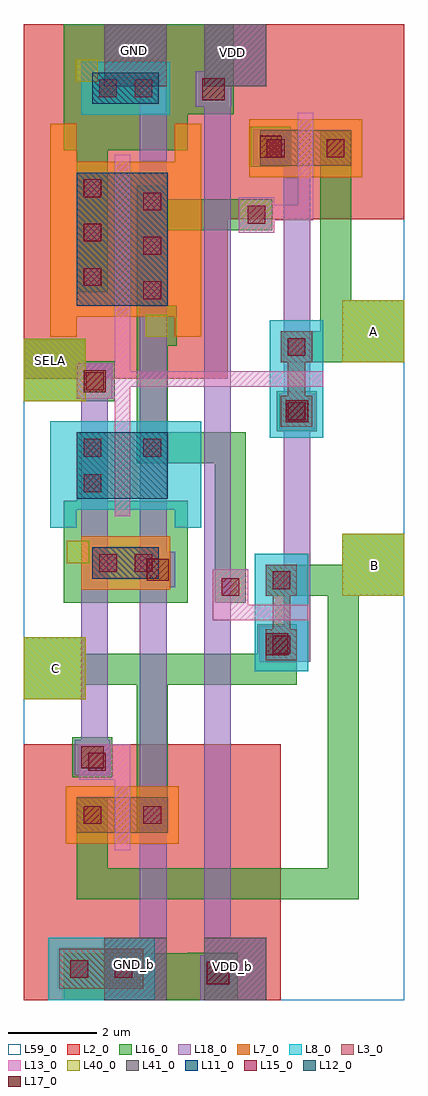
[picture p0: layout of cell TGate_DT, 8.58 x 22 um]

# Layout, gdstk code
from math import pi, radians
import gdstk
lib = gdstk.Library(unit=1e-6, precision=1e-09)
def R(c, l, rs):  # rectangles x0, y0, x1, y1
    for r in rs: c.add(gdstk.rectangle(r[:2], r[2:], *l))
def A(c, l, x, y, w, h, nx, ny, dx, dy):  # array of equal rectangles
    R(c, l, [(x+i*dx, y+j*dy, x+i*dx+w, y+j*dy+h) for i in range(nx) for j in range(ny)])
def P(c, l, *ps):  # polygons
    for p in ps: c.add(gdstk.Polygon(p, *l))
L2_0 = (2, 0)
L3_0 = (3, 0)
L7_0 = (7, 0)
L8_0 = (8, 0)
L11_0 = (11, 0)
L12_0 = (12, 0)
L13_0 = (13, 0)
L15_0 = (15, 0)
L16_0 = (16, 0)
L17_0 = (17, 0)
L18_0 = (18, 0)
L40_0 = (40, 0)
L41_0 = (41, 0)
L59_0 = (59, 0)

pch_cdns_747428254380 = lib.new_cell('pch_CDNS_747428254380')
R(pch_cdns_747428254380, L2_0, [(-2.05,-1.2,2.4,2)])
R(pch_cdns_747428254380, L3_0, [(-0.85,0,-0.15,0.8), (-0.85,0,-0.15,0.8), (-0.15,0,0.5,0.8), (0.5,0,1.2,0.8), (0.5,0,1.2,0.8)])
R(pch_cdns_747428254380, L7_0, [(-1.1,-0.25,1.45,1.05)])
R(pch_cdns_747428254380, L13_0, [(0,-0.4,0.35,1.2)])
R(pch_cdns_747428254380, L15_0, [(-0.7,0.2,-0.3,0.6), (0.65,0.2,1.05,0.6)])
R(pch_cdns_747428254380, L16_0, [(-0.85,0,-0.15,0.8), (0.5,0,1.2,0.8)])
pch_cdns_747428254380.add(gdstk.Label('D', (0.85,0.4), layer=59, texttype=0))
pch_cdns_747428254380.add(gdstk.Label('S', (-0.5,0.4), layer=59, texttype=0))
pch_cdns_747428254380.add(gdstk.Label('G', (0.175,0.4), layer=59, texttype=0))
pch_cdns_747428254380.add(gdstk.Label('& SerialNumber 000000', (0,0), layer=16, texttype=0))
pch_cdns_747428254380.add(gdstk.Label('& Distributor VIS', (0,0), layer=16, texttype=0))
pch_cdns_747428254380.add(gdstk.Label('& Metric 1', (0,0), layer=16, texttype=0))
pch_cdns_747428254380.add(gdstk.Label('& Version    \t  1.7A', (0,0), layer=16, texttype=0))
pch_cdns_747428254380.add(gdstk.Label('& PDKName     vis35cv', (0,0), layer=16, texttype=0))
pch_cdns_747428254380.add(gdstk.Label('& Vendor VIS Corp.', (0,0), layer=16, texttype=0))
pch_cdns_747428254380.add(gdstk.Label('& SerialNumber 000000', (0,0), layer=63, texttype=63))
pch_cdns_747428254380.add(gdstk.Label('& Distributor VIS', (0,0), layer=63, texttype=63))
pch_cdns_747428254380.add(gdstk.Label('& Metric 1', (0,0), layer=63, texttype=63))
pch_cdns_747428254380.add(gdstk.Label('& Version    \t  1.7A', (0,0), layer=63, texttype=63))
pch_cdns_747428254380.add(gdstk.Label('& PDKName     vis35cv', (0,0), layer=63, texttype=63))
pch_cdns_747428254380.add(gdstk.Label('& Vendor VIS Corp.', (0,0), layer=63, texttype=63))

nch_cdns_747428254381 = lib.new_cell('nch_CDNS_747428254381')
R(nch_cdns_747428254381, L3_0, [(-0.9,-0.15,-0.2,0.55), (0.55,-0.15,1.25,0.55), (-0.9,0,-0.2,0.4), (-0.2,0,0.55,0.4), (0.55,0,1.25,0.4)])
R(nch_cdns_747428254381, L8_0, [(-1.15,-0.4,1.5,0.8)])
R(nch_cdns_747428254381, L13_0, [(0,-0.4,0.35,0.8)])
R(nch_cdns_747428254381, L15_0, [(-0.75,0,-0.35,0.4), (0.7,0,1.1,0.4)])
R(nch_cdns_747428254381, L16_0, [(-0.9,-0.15,-0.2,0.55), (0.55,-0.15,1.25,0.55)])
nch_cdns_747428254381.add(gdstk.Label('D', (0.9,0.2), layer=59, texttype=0))
nch_cdns_747428254381.add(gdstk.Label('S', (-0.55,0.2), layer=59, texttype=0))
nch_cdns_747428254381.add(gdstk.Label('G', (0.175,0.2), layer=59, texttype=0))
nch_cdns_747428254381.add(gdstk.Label('& SerialNumber 000000', (0,0), layer=16, texttype=0))
nch_cdns_747428254381.add(gdstk.Label('& Distributor VIS', (0,0), layer=16, texttype=0))
nch_cdns_747428254381.add(gdstk.Label('& Metric 1', (0,0), layer=16, texttype=0))
nch_cdns_747428254381.add(gdstk.Label('& Version    \t  1.7A', (0,0), layer=16, texttype=0))
nch_cdns_747428254381.add(gdstk.Label('& PDKName     vis35cv', (0,0), layer=16, texttype=0))
nch_cdns_747428254381.add(gdstk.Label('& Vendor VIS Corp.', (0,0), layer=16, texttype=0))
nch_cdns_747428254381.add(gdstk.Label('& SerialNumber 000000', (0,0), layer=63, texttype=63))
nch_cdns_747428254381.add(gdstk.Label('& Distributor VIS', (0,0), layer=63, texttype=63))
nch_cdns_747428254381.add(gdstk.Label('& Metric 1', (0,0), layer=63, texttype=63))
nch_cdns_747428254381.add(gdstk.Label('& Version    \t  1.7A', (0,0), layer=63, texttype=63))
nch_cdns_747428254381.add(gdstk.Label('& PDKName     vis35cv', (0,0), layer=63, texttype=63))
nch_cdns_747428254381.add(gdstk.Label('& Vendor VIS Corp.', (0,0), layer=63, texttype=63))

inv0 = lib.new_cell('INV0')
R(inv0, L2_0, [(-1.6,5.05,3,13.05)])
R(inv0, L7_0, [(-0.3,0.3,1.7,1.5)])
P(inv0, L7_0, [(-1,6),(-1,10.8),(-0.4,10.8),(-0.4,9.95),(1.8,9.95),(1.8,10.8),(2.4,10.8),(2.4,6),(1.8,6),(1.8,6.45),(-0.4,6.45),(-0.4,6)])
R(inv0, L8_0, [(-0.3,11,1.7,12.2)])
P(inv0, L8_0, [(-1,1.7),(-1,4.1),(2.4,4.1),(2.4,1.7),(1.8,1.7),(1.8,2.1),(-0.4,2.1),(-0.4,1.7)])
R(inv0, L11_0, [(-0.05,0.55,1.45,1.25), (-0.4,6.7,1.65,9.7)])
R(inv0, L12_0, [(-0.4,2.35,1.65,3.85), (-0.05,11.25,1.45,11.95)])
P(inv0, L13_0, [(0.45,1.95),(0.45,4.6),(-0.4,4.6),(-0.4,5.4),(0.45,5.4),(0.45,10.1),(0.8,10.1),(0.8,1.95)])
A(inv0, L15_0, 1.1, 6.85, 0.4, 0.4, 1, 3, 0, 1)
A(inv0, L15_0, -0.25, 7.15, 0.4, 0.4, 1, 3, 0, 1)
R(inv0, L15_0, [(0.1,0.7,0.5,1.1), (0.9,0.7,1.3,1.1), (-0.25,2.5,0.15,2.9), (-0.25,3.3,0.15,3.7), (1.1,3.3,1.5,3.7), (-0.2,4.8,0.2,5.2), (0.1,11.4,0.5,11.8), (0.9,11.4,1.3,11.8)])
R(inv0, L16_0, [(-0.45,4.55,0.45,5.45)])
P(inv0, L16_0, [(0.95,3.15),(0.95,9.4),(1.65,9.4),(1.65,6.7),(1.85,6.7),(1.85,5.8),(1.65,5.8),(1.65,3.15)],
  [(-0.4,7),(-0.4,10.2),(-0.7,10.2),(-0.7,12.5),(2.1,12.5),(2.1,10.2),(0.3,10.2),(0.3,7)],
  [(-0.7,0),(-0.7,2.3),(-0.4,2.3),(-0.4,3.85),(0.3,3.85),(0.3,2.3),(2.1,2.3),(2.1,0)])
R(inv0, L40_0, [(-0.625,0.9,-0.125,1.4), (-0.25,4.75,0.25,5.25), (1.15,6,1.65,6.5), (-0.425,11.75,0.075,12.25)])
inv0.add(gdstk.Label('VSS', (-0.375,1.15), layer=40, texttype=0))
inv0.add(gdstk.Label('VDD', (-0.175,12), layer=40, texttype=0))
inv0.add(gdstk.Label('I', (0,5), layer=40, texttype=0))
inv0.add(gdstk.Label('ZN', (1.4,6.25), layer=40, texttype=0))

m2_m1_cdns_747428254380 = lib.new_cell('M2_M1_CDNS_747428254380')
R(m2_m1_cdns_747428254380, L16_0, [(-0.45,-0.45,0.45,0.45)])
R(m2_m1_cdns_747428254380, L17_0, [(-0.25,-0.25,0.25,0.25)])
R(m2_m1_cdns_747428254380, L18_0, [(-0.4,-0.4,0.4,0.4)])

m1_nwell_cdns_7474282543 = lib.new_cell('M1_NWELL_CDNS_747428254381')
R(m1_nwell_cdns_7474282543, L2_0, [(-1.15,-0.65,1.15,0.65)])
R(m1_nwell_cdns_7474282543, L3_0, [(-0.95,-0.45,0.95,0.45)])
R(m1_nwell_cdns_7474282543, L8_0, [(-1.2,-0.7,1.2,0.7)])
R(m1_nwell_cdns_7474282543, L15_0, [(-0.7,-0.2,-0.3,0.2), (0.3,-0.2,0.7,0.2)])
R(m1_nwell_cdns_7474282543, L16_0, [(-0.85,-0.35,0.85,0.35)])

m1_poly1_cdns_7474282543 = lib.new_cell('M1_POLY1_CDNS_747428254382')
R(m1_poly1_cdns_7474282543, L13_0, [(-0.4,-0.4,0.4,0.4)])
R(m1_poly1_cdns_7474282543, L15_0, [(-0.2,-0.2,0.2,0.2)])
R(m1_poly1_cdns_7474282543, L16_0, [(-0.35,-0.35,0.35,0.35)])

tgate_dt = lib.new_cell('TGate_DT')
R(tgate_dt, L2_0, [(0,0,5.8,1.52), (0,1.52,5.8,5.77), (4.6,20.8,8.58,22)])
R(tgate_dt, L13_0, [(2.05,4.97,2.4,5.77), (4.26,8.56,5.21,8.91), (2.4,13.82,5.55,14.17), (5.65,17.58,6.18,17.93), (6.18,17.58,6.53,18.41)])
R(tgate_dt, L16_0, [(0.9,0,3.7,1.05), (3.7,0,4.83,1.06), (0,6.78,1.4,8.18), (7.18,9.11,8.58,10.51), (0,13.5,1.4,14.9), (0,13.5,2.05,14.4), (7.18,14.37,8.58,15.77), (3.7,19.97,4.73,22), (0.9,21.45,3.7,22)])
R(tgate_dt, L18_0, [(1.82,0,3.22,1.4), (3.98,0,4.78,0.21), (4.07,0,5.47,1.4), (1.82,20.6,3.22,22), (4.07,20.6,5.47,22)])
R(tgate_dt, L40_0, [(0,6.78,1.4,8.18), (7.18,9.11,8.58,10.51), (0,13.5,1.4,14.9), (7.18,14.37,8.58,15.77)])
R(tgate_dt, L41_0, [(1.82,0,3.22,1.4), (4.07,0,5.47,1.4), (1.82,20.6,3.22,22), (4.07,20.6,5.47,22)])
R(tgate_dt, L59_0, [(0,0,8.58,22)])
tgate_dt.add(gdstk.FlexPath([(6.1,9.46),(8.58,9.46)], 0.7, ends="flush", simple_path=True, layer=16, datatype=0))  # L16_0
tgate_dt.add(gdstk.FlexPath([(7.03,19.31),(7.03,14.72)], 0.7, ends=(0, 0.35), simple_path=True, layer=16, datatype=0))  # L16_0
tgate_dt.add(gdstk.FlexPath([(7.03,14.72),(8.58,14.72)], 0.7, ends=(0.35, 0), simple_path=True, layer=16, datatype=0))  # L16_0
tgate_dt.add(gdstk.FlexPath([(6.5,14.72),(7.03,14.72)], 0.7, ends=(0, 0.35), simple_path=True, layer=16, datatype=0))  # L16_0
tgate_dt.add(gdstk.FlexPath([(5.25,17.7),(3.04,17.7)], 0.7, ends="flush", simple_path=True, layer=16, datatype=0))  # L16_0
tgate_dt.add(gdstk.FlexPath([(4.66,8.96),(4.66,12.45)], 0.7, ends=(0, 0.35), simple_path=True, layer=16, datatype=0))  # L16_0
tgate_dt.add(gdstk.FlexPath([(4.66,12.45),(2.62,12.45)], 0.7, ends=(0.35, 0), simple_path=True, layer=16, datatype=0))  # L16_0
tgate_dt.add(gdstk.FlexPath([(2.9,4.44),(2.9,7.46)], 0.7, ends=(0, 0.35), simple_path=True, layer=16, datatype=0))  # L16_0
tgate_dt.add(gdstk.FlexPath([(2.9,7.46),(6.16,7.46)], 0.7, ends=(0.35, 0), simple_path=True, layer=16, datatype=0))  # L16_0
tgate_dt.add(gdstk.FlexPath([(0,7.46),(2.9,7.46)], 0.7, ends=(0, 0.35), simple_path=True, layer=16, datatype=0))  # L16_0
tgate_dt.add(gdstk.FlexPath([(7.2,2.62),(7.2,9.36)], 0.7, ends=(0.35, 0), simple_path=True, layer=16, datatype=0))  # L16_0
tgate_dt.add(gdstk.FlexPath([(1.55,2.62),(7.2,2.62)], 0.7, ends="extended", simple_path=True, layer=16, datatype=0))  # L16_0
tgate_dt.add(gdstk.FlexPath([(1.55,3.93),(1.55,2.62)], 0.7, ends=(0, 0.35), simple_path=True, layer=16, datatype=0))  # L16_0
tgate_dt.add(gdstk.FlexPath([(6.16,19.63),(6.16,7.62)], 0.6, ends="flush", simple_path=True, layer=18, datatype=0))  # L18_0
tgate_dt.add(gdstk.FlexPath([(4.37,0),(4.37,22)], 0.6, ends="flush", simple_path=True, layer=18, datatype=0))  # L18_0
tgate_dt.add(gdstk.FlexPath([(2.92,0),(2.92,22)], 0.6, ends="flush", simple_path=True, layer=18, datatype=0))  # L18_0
tgate_dt.add(gdstk.FlexPath([(1.6,13.95),(1.6,5.22)], 0.6, ends="flush", simple_path=True, layer=18, datatype=0))  # L18_0
tgate_dt.add(gdstk.Reference(pch_cdns_747428254380, (6.18,18.8)))
tgate_dt.add(gdstk.Reference(pch_cdns_747428254380, (2.05,3.77)))
tgate_dt.add(gdstk.Reference(nch_cdns_747428254381, (6.35,13.82), rotation=pi/2))
tgate_dt.add(gdstk.Reference(nch_cdns_747428254381, (6.01,8.56), rotation=pi/2))
tgate_dt.add(gdstk.Reference(inv0, (1.6,8.95)))
tgate_dt.add(gdstk.Reference(m2_m1_cdns_747428254380, (6.16,13.27)))
tgate_dt.add(gdstk.Reference(m2_m1_cdns_747428254380, (5.71,8.02)))
tgate_dt.add(gdstk.Reference(m2_m1_cdns_747428254380, (5.57,19.23)))
tgate_dt.add(gdstk.Reference(m2_m1_cdns_747428254380, (4.38,0.61)))
tgate_dt.add(gdstk.Reference(m2_m1_cdns_747428254380, (4.28,20.53)))
tgate_dt.add(gdstk.Reference(m2_m1_cdns_747428254380, (3.02,9.7)))
tgate_dt.add(gdstk.Reference(m2_m1_cdns_747428254380, (1.6,13.95)))
tgate_dt.add(gdstk.Reference(m2_m1_cdns_747428254380, (1.55,5.47)))
tgate_dt.add(gdstk.Reference(m1_nwell_cdns_7474282543, (1.75,0.7)))
tgate_dt.add(gdstk.Reference(m1_poly1_cdns_7474282543, (5.25,17.7)))
tgate_dt.add(gdstk.Reference(m1_poly1_cdns_7474282543, (4.66,9.31)))
tgate_dt.add(gdstk.Reference(m1_poly1_cdns_7474282543, (1.65,5.37)))
tgate_dt.add(gdstk.Label('SELA', (0.6,14.41), layer=40, texttype=0))
tgate_dt.add(gdstk.Label('C', (0.71,7.47), layer=40, texttype=0))
tgate_dt.add(gdstk.Label('B', (7.9,9.8), layer=40, texttype=0))
tgate_dt.add(gdstk.Label('A', (7.88,15.07), layer=40, texttype=0))
tgate_dt.add(gdstk.Label('VDD_b', (4.71,0.76), layer=41, texttype=0))
tgate_dt.add(gdstk.Label('GND_b', (2.5,0.81), layer=41, texttype=0))
tgate_dt.add(gdstk.Label('GND', (2.5,21.41), layer=41, texttype=0))
tgate_dt.add(gdstk.Label('VDD', (4.71,21.36), layer=41, texttype=0))

lib.write_gds('TGate_DT.gds')
